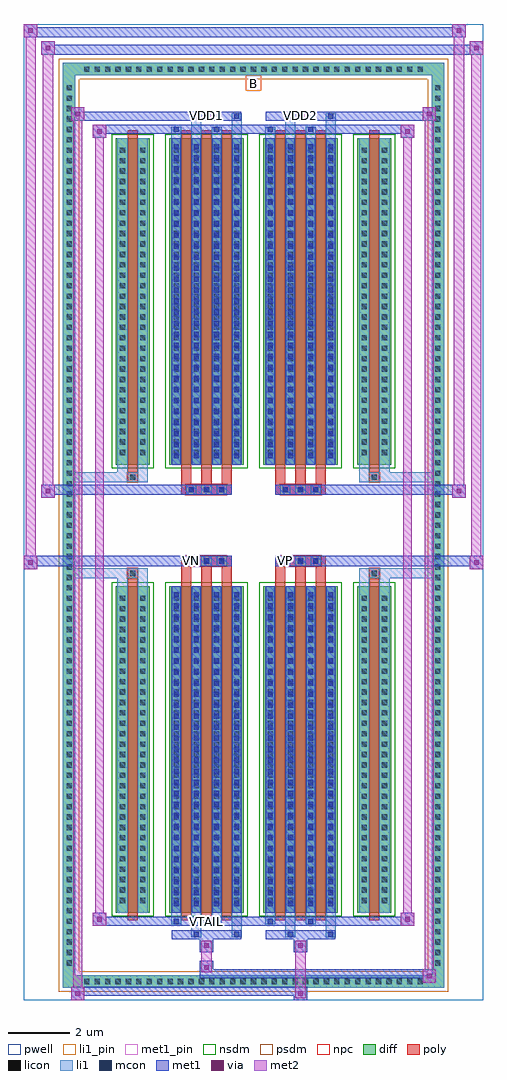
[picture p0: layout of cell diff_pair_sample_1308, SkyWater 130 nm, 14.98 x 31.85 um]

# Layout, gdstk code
import gdstk
lib = gdstk.Library(unit=1e-6, precision=5e-09)
def R(c, l, rs):  # rectangles x0, y0, x1, y1
    for r in rs: c.add(gdstk.rectangle(r[:2], r[2:], *l))
def A(c, l, x, y, w, h, nx, ny, dx, dy):  # array of equal rectangles
    R(c, l, [(x+i*dx, y+j*dy, x+i*dx+w, y+j*dy+h) for i in range(nx) for j in range(ny)])
def P(c, l, *ps):  # polygons
    for p in ps: c.add(gdstk.Polygon(p, *l))
pwell = (64, 44)
diff = (65, 20)
poly = (66, 20)
licon = (66, 44)
li1_pin = (67, 16)
li1 = (67, 20)
mcon = (67, 44)
met1_pin = (68, 16)
met1 = (68, 20)
via = (68, 44)
met2 = (69, 20)
nsdm = (93, 44)
psdm = (94, 20)
npc = (95, 20)

diff_pair_sample_1308 = lib.new_cell('diff_pair_sample_1308')
R(diff_pair_sample_1308, pwell, [(-7.49,-15.49,7.49,16.36), (-4.81,-13.68,-0.01,-0.8), (0.01,-13.68,4.81,-0.8), (-4.81,0.8,-0.01,13.68), (0.01,0.8,4.81,13.68)])
A(diff_pair_sample_1308, diff, -5.645, -15.09, 0.41, 0.41, 33, 2, 0.34, 29.77)
A(diff_pair_sample_1308, diff, -6.22, -14.485, 0.41, 0.41, 1, 85, 0, 0.34)
A(diff_pair_sample_1308, diff, 5.81, -14.485, 0.41, 0.41, 1, 85, 0, 0.34)
R(diff_pair_sample_1308, diff, [(-5.645,-15.09,5.645,-14.68), (-6.22,-14.485,-5.81,14.485), (5.81,-14.485,6.22,14.485), (-4.5,-12.635,-3.39,-1.985), (-2.75,-12.635,-0.32,-1.985), (0.32,-12.635,2.75,-1.985), (3.39,-12.635,4.5,-1.985), (-4.5,1.985,-3.39,12.635), (-2.75,1.985,-0.32,12.635), (0.32,1.985,2.75,12.635), (3.39,1.985,4.5,12.635), (-5.645,14.68,5.645,15.09)])
P(diff_pair_sample_1308, diff, [(6.22,15.09),(-6.22,15.09),(-6.22,-14.68),(-5.81,-14.68),(-5.81,14.68),(5.81,14.68),(5.81,-14.68),(-5.81,-14.68),(-6.22,-14.68),(-6.22,-15.09),(6.22,-15.09)])
A(diff_pair_sample_1308, poly, -2.36, -12.885, 0.33, 11.15, 3, 2, 0.66, 14.62)
A(diff_pair_sample_1308, poly, 0.71, -12.885, 0.33, 11.15, 3, 2, 0.66, 14.62)
A(diff_pair_sample_1308, poly, -2.36, -1.735, 0.33, 0.405, 3, 2, 0.66, 3.065)
A(diff_pair_sample_1308, poly, 0.71, -1.735, 0.33, 0.405, 3, 2, 0.66, 3.065)
A(diff_pair_sample_1308, poly, -2.2, -1.33, 0.33, 0.33, 3, 2, 0.5, 2.33)
A(diff_pair_sample_1308, poly, 0.87, -1.33, 0.33, 0.33, 3, 2, 0.5, 2.33)
R(diff_pair_sample_1308, poly, [(-4.11,-12.885,-3.78,-1.735), (3.78,-12.885,4.11,-1.735), (-4.11,-1.735,-3.78,-1.405), (-4.11,-1.735,-3.78,-1.405), (3.78,-1.735,4.11,-1.405), (3.78,-1.735,4.11,-1.405), (-2.36,-1.33,-0.71,-1), (0.71,-1.33,2.36,-1), (-2.36,1,-0.71,1.33), (0.71,1,2.36,1.33), (-4.11,1.405,-3.78,1.735), (-4.11,1.405,-3.78,1.735), (3.78,1.405,4.11,1.735), (3.78,1.405,4.11,1.735), (-4.11,1.735,-3.78,12.885), (3.78,1.735,4.11,12.885)])
A(diff_pair_sample_1308, licon, -5.525, -14.97, 0.17, 0.17, 33, 2, 0.34, 29.77)
A(diff_pair_sample_1308, licon, -6.1, -14.365, 0.17, 0.17, 1, 85, 0, 0.34)
A(diff_pair_sample_1308, licon, 5.93, -14.365, 0.17, 0.17, 1, 85, 0, 0.34)
A(diff_pair_sample_1308, licon, -4.36, -12.325, 0.17, 0.17, 1, 30, 0, 0.34)
A(diff_pair_sample_1308, licon, -3.7, -12.325, 0.17, 0.17, 1, 30, 0, 0.34)
A(diff_pair_sample_1308, licon, -2.61, -12.325, 0.17, 0.17, 4, 30, 0.66, 0.34)
A(diff_pair_sample_1308, licon, 0.46, -12.325, 0.17, 0.17, 4, 30, 0.66, 0.34)
A(diff_pair_sample_1308, licon, 3.53, -12.325, 0.17, 0.17, 1, 30, 0, 0.34)
A(diff_pair_sample_1308, licon, 4.19, -12.325, 0.17, 0.17, 1, 30, 0, 0.34)
A(diff_pair_sample_1308, licon, -2.12, -1.25, 0.17, 0.17, 3, 2, 0.5, 2.33)
A(diff_pair_sample_1308, licon, 0.95, -1.25, 0.17, 0.17, 3, 2, 0.5, 2.33)
A(diff_pair_sample_1308, licon, -4.36, 2.295, 0.17, 0.17, 1, 30, 0, 0.34)
A(diff_pair_sample_1308, licon, -3.7, 2.295, 0.17, 0.17, 1, 30, 0, 0.34)
A(diff_pair_sample_1308, licon, -2.61, 2.295, 0.17, 0.17, 4, 30, 0.66, 0.34)
A(diff_pair_sample_1308, licon, 0.46, 2.295, 0.17, 0.17, 4, 30, 0.66, 0.34)
A(diff_pair_sample_1308, licon, 3.53, 2.295, 0.17, 0.17, 1, 30, 0, 0.34)
A(diff_pair_sample_1308, licon, 4.19, 2.295, 0.17, 0.17, 1, 30, 0, 0.34)
R(diff_pair_sample_1308, licon, [(-4.03,-1.655,-3.86,-1.485), (3.86,-1.655,4.03,-1.485), (-4.03,1.485,-3.86,1.655), (3.86,1.485,4.03,1.655)])
R(diff_pair_sample_1308, li1_pin, [(-0.25,14.18,0.25,14.68)])
A(diff_pair_sample_1308, li1, -5.605, -15.05, 0.33, 0.33, 33, 2, 0.34, 29.77)
A(diff_pair_sample_1308, li1, -6.18, -14.445, 0.33, 0.33, 1, 85, 0, 0.34)
A(diff_pair_sample_1308, li1, 5.85, -14.445, 0.33, 0.33, 1, 85, 0, 0.34)
A(diff_pair_sample_1308, li1, -2.69, -12.635, 0.33, 10.65, 4, 2, 0.66, 14.62)
A(diff_pair_sample_1308, li1, 0.38, -12.635, 0.33, 10.65, 4, 2, 0.66, 14.62)
A(diff_pair_sample_1308, li1, -2.61, -12.435, 0.17, 0.17, 4, 29, 0.66, 0.36)
A(diff_pair_sample_1308, li1, -2.61, -12.435, 0.17, 10.25, 4, 2, 0.66, 14.62)
A(diff_pair_sample_1308, li1, 0.46, -12.435, 0.17, 0.17, 4, 29, 0.66, 0.36)
A(diff_pair_sample_1308, li1, 0.46, -12.435, 0.17, 10.25, 4, 2, 0.66, 14.62)
A(diff_pair_sample_1308, li1, -4.44, -12.405, 0.33, 0.33, 1, 30, 0, 0.34)
A(diff_pair_sample_1308, li1, -3.78, -12.405, 0.33, 0.33, 1, 30, 0, 0.34)
A(diff_pair_sample_1308, li1, -2.69, -12.405, 0.33, 0.33, 4, 30, 0.66, 0.34)
A(diff_pair_sample_1308, li1, 0.38, -12.405, 0.33, 0.33, 4, 30, 0.66, 0.34)
A(diff_pair_sample_1308, li1, 3.45, -12.405, 0.33, 0.33, 1, 30, 0, 0.34)
A(diff_pair_sample_1308, li1, 4.11, -12.405, 0.33, 0.33, 1, 30, 0, 0.34)
A(diff_pair_sample_1308, li1, -4.44, -1.735, 0.33, 0.33, 3, 2, 0.33, 3.14)
A(diff_pair_sample_1308, li1, 3.45, -1.735, 0.33, 0.33, 3, 2, 0.33, 3.14)
A(diff_pair_sample_1308, li1, -2.2, -1.33, 0.33, 0.33, 3, 2, 0.5, 2.33)
A(diff_pair_sample_1308, li1, 0.87, -1.33, 0.33, 0.33, 3, 2, 0.5, 2.33)
A(diff_pair_sample_1308, li1, -2.61, 2.185, 0.17, 0.17, 4, 29, 0.66, 0.36)
A(diff_pair_sample_1308, li1, 0.46, 2.185, 0.17, 0.17, 4, 29, 0.66, 0.36)
A(diff_pair_sample_1308, li1, -4.44, 2.215, 0.33, 0.33, 1, 30, 0, 0.34)
A(diff_pair_sample_1308, li1, -3.78, 2.215, 0.33, 0.33, 1, 30, 0, 0.34)
A(diff_pair_sample_1308, li1, -2.69, 2.215, 0.33, 0.33, 4, 30, 0.66, 0.34)
A(diff_pair_sample_1308, li1, 0.38, 2.215, 0.33, 0.33, 4, 30, 0.66, 0.34)
A(diff_pair_sample_1308, li1, 3.45, 2.215, 0.33, 0.33, 1, 30, 0, 0.34)
A(diff_pair_sample_1308, li1, 4.11, 2.215, 0.33, 0.33, 1, 30, 0, 0.34)
R(diff_pair_sample_1308, li1, [(-6.22,-15.09,-5.81,-14.68), (-6.22,-15.09,-5.81,-14.68), (-5.81,-15.09,5.81,-14.68), (5.81,-15.09,6.22,-14.68), (5.81,-15.09,6.22,-14.68), (-6.22,-14.68,-5.81,14.68), (5.81,-14.68,6.22,14.68), (-2.03,-13.44,-1.7,-12.635), (-1.95,-13.44,-1.78,-13.27), (-0.71,-13.44,-0.38,-12.635), (-0.63,-13.44,-0.46,-13.27), (1.04,-13.44,1.37,-12.635), (1.12,-13.44,1.29,-13.27), (2.36,-13.44,2.69,-12.635), (2.44,-13.44,2.61,-13.27), (-2.69,-13.01,-2.36,-12.635), (-2.61,-13.01,-2.44,-12.84), (-1.37,-13.01,-1.04,-12.635), (-1.29,-13.01,-1.12,-12.84), (0.38,-13.01,0.71,-12.635), (0.46,-13.01,0.63,-12.84), (1.7,-13.01,2.03,-12.635), (1.78,-13.01,1.95,-12.84), (-4.44,-12.635,-4.11,-1.985), (-3.78,-12.635,-3.45,-1.985), (3.45,-12.635,3.78,-1.985), (4.11,-12.635,4.44,-1.985), (-4.44,-1.985,-4.11,-1.405), (-3.78,-1.985,-3.45,-1.405), (3.45,-1.985,3.78,-1.405), (4.11,-1.985,4.44,-1.405), (-6.22,-1.735,-4.11,-1.405), (3.78,-1.735,6.22,-1.405), (-6.22,1.405,-4.11,1.735), (-4.44,1.405,-4.11,1.985), (-3.78,1.405,-3.45,1.985), (3.45,1.405,3.78,1.985), (3.78,1.405,6.22,1.735), (4.11,1.405,4.44,1.985), (-4.44,1.985,-4.11,12.635), (-3.78,1.985,-3.45,12.635), (3.45,1.985,3.78,12.635), (4.11,1.985,4.44,12.635), (-2.69,12.635,-2.36,13.01), (-2.03,12.635,-1.7,13.44), (-1.37,12.635,-1.04,13.01), (-0.71,12.635,-0.38,13.44), (0.38,12.635,0.71,13.01), (1.04,12.635,1.37,13.44), (1.7,12.635,2.03,13.01), (2.36,12.635,2.69,13.44), (-2.61,12.84,-2.44,13.01), (-1.29,12.84,-1.12,13.01), (0.46,12.84,0.63,13.01), (1.78,12.84,1.95,13.01), (-1.95,13.27,-1.78,13.44), (-0.63,13.27,-0.46,13.44), (1.12,13.27,1.29,13.44), (2.44,13.27,2.61,13.44), (-6.22,14.68,-5.81,15.09), (-6.22,14.68,-5.81,15.09), (-5.81,14.68,5.81,15.09), (5.81,14.68,6.22,15.09), (5.81,14.68,6.22,15.09)])
A(diff_pair_sample_1308, mcon, -2.61, -12.435, 0.17, 0.17, 4, 29, 0.66, 0.36)
A(diff_pair_sample_1308, mcon, 0.46, -12.435, 0.17, 0.17, 4, 29, 0.66, 0.36)
A(diff_pair_sample_1308, mcon, -2.12, -1.25, 0.17, 0.17, 3, 2, 0.5, 2.33)
A(diff_pair_sample_1308, mcon, 0.95, -1.25, 0.17, 0.17, 3, 2, 0.5, 2.33)
A(diff_pair_sample_1308, mcon, -2.61, 2.185, 0.17, 0.17, 4, 29, 0.66, 0.36)
A(diff_pair_sample_1308, mcon, 0.46, 2.185, 0.17, 0.17, 4, 29, 0.66, 0.36)
R(diff_pair_sample_1308, mcon, [(-1.95,-13.44,-1.78,-13.27), (-0.63,-13.44,-0.46,-13.27), (1.12,-13.44,1.29,-13.27), (2.44,-13.44,2.61,-13.27), (-2.61,-13.01,-2.44,-12.84), (-1.29,-13.01,-1.12,-12.84), (0.46,-13.01,0.63,-12.84), (1.78,-13.01,1.95,-12.84), (-2.61,12.84,-2.44,13.01), (-1.29,12.84,-1.12,13.01), (0.46,12.84,0.63,13.01), (1.78,12.84,1.95,13.01), (-1.95,13.27,-1.78,13.44), (-0.63,13.27,-0.46,13.44), (1.12,13.27,1.29,13.44), (2.44,13.27,2.61,13.44)])
R(diff_pair_sample_1308, met1_pin, [(-1.67,-13.05,-1.4,-12.78), (-2.17,-1.29,-1.9,-1.02), (0.9,-1.29,1.17,-1.02), (-1.67,13.23,-1.4,13.5), (1.4,13.23,1.67,13.5)])
A(diff_pair_sample_1308, met1, -2.67, -12.635, 0.29, 10.65, 4, 2, 0.66, 14.62)
A(diff_pair_sample_1308, met1, 0.4, -12.635, 0.29, 10.65, 4, 2, 0.66, 14.62)
A(diff_pair_sample_1308, met1, -2.67, -12.495, 0.29, 0.29, 4, 29, 0.66, 0.36)
A(diff_pair_sample_1308, met1, 0.4, -12.495, 0.29, 0.29, 4, 29, 0.66, 0.36)
A(diff_pair_sample_1308, met1, -2.18, -1.31, 0.29, 0.29, 3, 2, 0.5, 2.33)
A(diff_pair_sample_1308, met1, 0.89, -1.31, 0.29, 0.29, 3, 2, 0.5, 2.33)
A(diff_pair_sample_1308, met1, -2.67, 2.125, 0.29, 0.29, 4, 29, 0.66, 0.36)
A(diff_pair_sample_1308, met1, 0.4, 2.125, 0.29, 0.29, 4, 29, 0.66, 0.36)
R(diff_pair_sample_1308, met1, [(-5.95,-15.49,-5.52,-15.06), (1.32,-15.49,1.75,-15.06), (-5.95,-15.35,1.75,-15.06), (5.52,-14.92,5.95,-14.49), (-1.75,-14.78,5.95,-14.49), (-1.75,-14.64,-1.32,-14.21), (-1.75,-13.93,-1.32,-13.5), (1.32,-13.93,1.75,-13.5), (-2.67,-13.5,-0.4,-13.21), (-2.01,-13.5,-1.72,-13.21), (-0.69,-13.5,-0.4,-13.21), (0.4,-13.5,2.67,-13.21), (1.06,-13.5,1.35,-13.21), (2.38,-13.5,2.67,-13.21), (-5.24,-13.07,-4.81,-12.64), (-5.24,-13.07,-2.67,-12.78), (-2.67,-13.07,-2.38,-12.78), (-2.67,-13.07,-0.4,-12.78), (-1.35,-13.07,-1.06,-12.78), (-0.4,-13.07,0.4,-12.78), (0.4,-13.07,0.69,-12.78), (0.4,-13.07,2.67,-12.78), (1.72,-13.07,2.01,-12.78), (2.67,-13.07,5.24,-12.78), (4.81,-13.07,5.24,-12.64), (-7.49,-1.43,-7.06,-1), (7.06,-1.43,7.49,-1), (-7.49,-1.33,-0.71,-1), (-2.36,-1.33,-0.71,-1), (0.71,-1.33,2.36,-1), (0.71,-1.33,7.49,-1), (-6.92,0.9,-6.49,1.33), (6.49,0.9,6.92,1.33), (-6.92,1,-2.36,1.33), (-2.36,1,-0.71,1.33), (0.71,1,2.36,1.33), (2.36,1,6.92,1.33), (-5.24,12.64,-4.81,13.07), (4.81,12.64,5.24,13.07), (-5.24,12.78,-2.67,13.07), (-2.67,12.78,-2.38,13.07), (-2.67,12.78,-0.4,13.07), (-1.35,12.78,-1.06,13.07), (-0.4,12.78,0.4,13.07), (0.4,12.78,0.69,13.07), (0.4,12.78,2.67,13.07), (1.72,12.78,2.01,13.07), (2.67,12.78,5.24,13.07), (-5.95,13.21,-5.52,13.64), (-5.95,13.21,-2.67,13.5), (-2.67,13.21,-0.4,13.5), (-2.01,13.21,-1.72,13.5), (-0.69,13.21,-0.4,13.5), (0.4,13.21,2.67,13.5), (1.06,13.21,1.35,13.5), (2.38,13.21,2.67,13.5), (2.67,13.21,5.95,13.5), (5.52,13.21,5.95,13.64), (-6.92,15.36,-6.49,15.79), (-6.92,15.36,-4.81,15.69), (-4.81,15.36,4.81,15.69), (4.81,15.36,7.49,15.69), (7.06,15.36,7.49,15.79), (-7.49,15.93,-7.06,16.36), (-7.49,15.93,-4.81,16.26), (-4.81,15.93,4.81,16.26), (4.81,15.93,6.92,16.26), (6.49,15.93,6.92,16.36)])
R(diff_pair_sample_1308, via, [(-5.81,-15.35,-5.66,-15.2), (1.46,-15.35,1.61,-15.2), (5.66,-14.78,5.81,-14.63), (-1.61,-14.5,-1.46,-14.35), (-1.61,-13.79,-1.46,-13.64), (1.46,-13.79,1.61,-13.64), (-5.1,-12.93,-4.95,-12.78), (4.95,-12.93,5.1,-12.78), (-7.35,-1.29,-7.2,-1.14), (7.2,-1.29,7.35,-1.14), (-6.78,1.04,-6.63,1.19), (6.63,1.04,6.78,1.19), (-5.1,12.78,-4.95,12.93), (4.95,12.78,5.1,12.93), (-5.81,13.35,-5.66,13.5), (5.66,13.35,5.81,13.5), (-6.78,15.5,-6.63,15.65), (7.2,15.5,7.35,15.65), (-7.35,16.07,-7.2,16.22), (6.63,16.07,6.78,16.22)])
R(diff_pair_sample_1308, met2, [(-5.95,-15.49,-5.52,-15.06), (-5.88,-15.49,-5.59,13.64), (-5.59,-15.49,-5.52,-15.06), (-5.9,-15.44,-5.57,-15.11), (1.37,-15.44,1.7,-15.11), (1.37,-15.11,1.7,-13.88), (5.52,-14.92,5.95,-14.49), (5.59,-14.92,5.88,13.64), (5.88,-14.92,5.95,-14.49), (5.57,-14.87,5.9,-14.54), (-1.7,-14.59,-1.37,-14.26), (-1.7,-14.26,-1.37,-13.88), (-1.7,-13.88,-1.37,-13.55), (1.37,-13.88,1.7,-13.55), (-5.24,-13.07,-4.81,-12.64), (-5.17,-13.07,-4.88,13.07), (-4.88,-13.07,-4.81,-12.64), (4.81,-13.07,5.24,-12.64), (4.88,-13.07,5.17,13.07), (5.17,-13.07,5.24,-12.64), (-5.19,-13.02,-4.86,-12.69), (4.86,-13.02,5.19,-12.69), (-7.49,-1.43,-7.06,-1), (-7.44,-1.43,-7.11,16.36), (-7.11,-1.43,-7.06,-1), (7.06,-1.43,7.49,-1), (7.11,-1.43,7.44,15.79), (7.44,-1.43,7.49,-1), (-7.44,-1.38,-7.11,-1.05), (7.11,-1.38,7.44,-1.05), (-6.92,0.9,-6.49,1.33), (-6.87,0.9,-6.54,15.79), (-6.54,0.9,-6.49,1.33), (6.49,0.9,6.92,1.33), (6.54,0.9,6.87,16.36), (6.87,0.9,6.92,1.33), (-6.87,0.95,-6.54,1.28), (6.54,0.95,6.87,1.28), (-5.24,12.64,-4.81,13.07), (-4.88,12.64,-4.81,13.07), (4.81,12.64,5.24,13.07), (5.17,12.64,5.24,13.07), (-5.19,12.69,-4.86,13.02), (4.86,12.69,5.19,13.02), (-5.95,13.21,-5.52,13.64), (-5.59,13.21,-5.52,13.64), (5.52,13.21,5.95,13.64), (5.88,13.21,5.95,13.64), (-5.9,13.26,-5.57,13.59), (5.57,13.26,5.9,13.59), (-6.92,15.36,-6.49,15.79), (-6.54,15.36,-6.49,15.79), (7.06,15.36,7.49,15.79), (7.44,15.36,7.49,15.79), (-6.87,15.41,-6.54,15.74), (7.11,15.41,7.44,15.74), (-7.49,15.93,-7.06,16.36), (-7.11,15.93,-7.06,16.36), (6.49,15.93,6.92,16.36), (6.87,15.93,6.92,16.36), (-7.44,15.98,-7.11,16.31), (6.54,15.98,6.87,16.31)])
R(diff_pair_sample_1308, nsdm, [(-4.63,-12.765,-3.26,-1.855), (-2.88,-12.765,-0.19,-1.855), (0.19,-12.765,2.88,-1.855), (3.26,-12.765,4.63,-1.855), (-4.63,1.855,-3.26,12.765), (-2.88,1.855,-0.19,12.765), (0.19,1.855,2.88,12.765), (3.26,1.855,4.63,12.765)])
P(diff_pair_sample_1308, psdm, [(6.35,15.22),(-6.35,15.22),(-6.35,-14.55),(-5.68,-14.55),(-5.68,14.55),(5.68,14.55),(5.68,-14.55),(-5.68,-14.55),(-6.35,-14.55),(-6.35,-15.22),(6.35,-15.22)])
A(diff_pair_sample_1308, npc, -2.22, -1.35, 0.37, 0.37, 3, 2, 0.5, 2.33)
A(diff_pair_sample_1308, npc, 0.85, -1.35, 0.37, 0.37, 3, 2, 0.5, 2.33)
R(diff_pair_sample_1308, npc, [(-4.13,-1.755,-3.76,-1.385), (3.76,-1.755,4.13,-1.385), (-2.22,-1.35,-1.35,-0.98), (-2.22,-1.35,-1.35,-0.98), (-1.72,-1.35,-0.85,-0.98), (-1.72,-1.35,-0.85,-0.98), (0.85,-1.35,1.72,-0.98), (0.85,-1.35,1.72,-0.98), (1.35,-1.35,2.22,-0.98), (1.35,-1.35,2.22,-0.98), (-2.22,0.98,-1.35,1.35), (-2.22,0.98,-1.35,1.35), (-1.72,0.98,-0.85,1.35), (-1.72,0.98,-0.85,1.35), (0.85,0.98,1.72,1.35), (0.85,0.98,1.72,1.35), (1.35,0.98,2.22,1.35), (1.35,0.98,2.22,1.35), (-4.13,1.385,-3.76,1.755), (3.76,1.385,4.13,1.755)])
diff_pair_sample_1308.add(gdstk.Label('VTAIL', (-1.535,-12.915), layer=68, texttype=5))
diff_pair_sample_1308.add(gdstk.Label('VN', (-2.035,-1.155), layer=68, texttype=5))
diff_pair_sample_1308.add(gdstk.Label('VP', (1.035,-1.155), layer=68, texttype=5))
diff_pair_sample_1308.add(gdstk.Label('B', (0,14.43), layer=67, texttype=5))
diff_pair_sample_1308.add(gdstk.Label('VDD2', (1.535,13.365), layer=68, texttype=5))
diff_pair_sample_1308.add(gdstk.Label('VDD1', (-1.535,13.365), layer=68, texttype=5))

lib.write_gds('diff_pair_sample_1308.gds')
